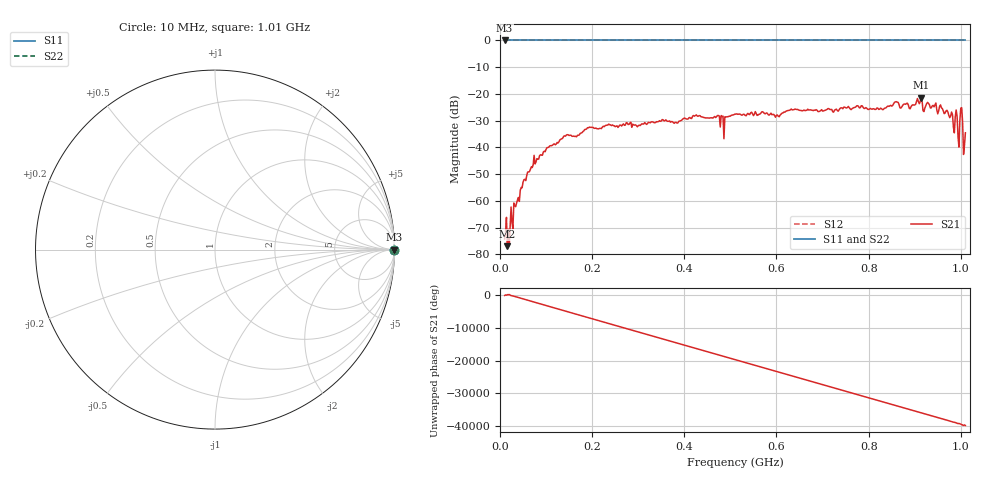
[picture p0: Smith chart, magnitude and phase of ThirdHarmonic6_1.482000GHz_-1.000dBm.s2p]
! 8/16/2025 5:19:50 PM
! C:\ANRITSUVNA\TEMP\TEMP.S2P
! CHANNEL.1
! TR.MEASUREMENT
! RAW.DATA
! RF.CORRECTION.OFF
! AVERAGING.OFF
! IF.BANDWIDTH: 5KHZ
! SWEEPTYPE:  FREQ.SWEEP(Linear)
! Reference Plane Port Info
! PORT:  PORT1  PORT2
! DISTANCE:  0  m  0  m
! TIME:  0  s  0  s
! PHASE.OFFSET:  0  deg.  0  deg.
! LOSS:  0  dB  0  dB
! REF.LOSS:  0  dB  0  dB
! REF.FREQ:  0  Hz  0  Hz
! Power Info
! POWER:  -20  dBm  -20  dBm
! EFF.POWER:  -20  dBm  -20  dBm
! SOURCE.ATTEN:  0  dB  0  dB
! TEST.ATTEN:  0  dB  0  dB
# GHZ S RI R 50.0
! FREQ.GHZ  S11RE  S11IM  S21RE  S21IM  S12RE  S12IM  S22RE  S22IM
!; PortSelection: Port_12
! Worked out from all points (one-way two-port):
!   501 points, 10 MHz to 1.01 GHz, reference 50 ohm
!   highest |S21| = -21.37 dB at 914 MHz (marker M1); lowest = -76.9 dB at 16 MHz (marker M2)
!   lowest |S11| = 0.0 dB at 10 MHz (marker M3)
!   |S11| at or under -10 dB: nowhere
!   |S22| runs from 0.0 to 0.0 dB; largest |S21 - S12| = 1.1
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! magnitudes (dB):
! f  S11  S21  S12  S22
! 10 MHz  0.0  -74.2  0.0  0.0
! 16 MHz  0.0  -76.9  0.0  0.0
! 24 MHz  0.0  -62.3  0.0  0.0
! 28 MHz  0.0  -70.4  0.0  0.0
! 48 MHz  0.0  -55.1  0.0  0.0
! 70 MHz  0.0  -47.5  0.0  0.0
! 142 MHz  0.0  -35.8  0.0  0.0
! 178 MHz  0.0  -34.5  0.0  0.0
! 344 MHz  0.0  -30.3  0.0  0.0
! 428 MHz  0.0  -28.3  0.0  0.0
! 472 MHz  0.0  -28.1  0.0  0.0
! 482 MHz  0.0  -28.4  0.0  0.0
! 510 MHz  0.0  -27.5  0.0  0.0
! 602 MHz  0.0  -27.9  0.0  0.0
! 678 MHz  0.0  -26.1  0.0  0.0
! 844 MHz  0.0  -24.7  0.0  0.0
! 914 MHz  0.0  -21.4  0.0  0.0
! 922 MHz  0.0  -25.3  0.0  0.0
! 958 MHz  0.0  -25.2  0.0  0.0
! 994 MHz  0.0  -35.9  0.0  0.0
! 1 GHz  0.0  -25.3  0.0  0.0
! 1.01 GHz  0.0  -34.5  0.0  0.0
